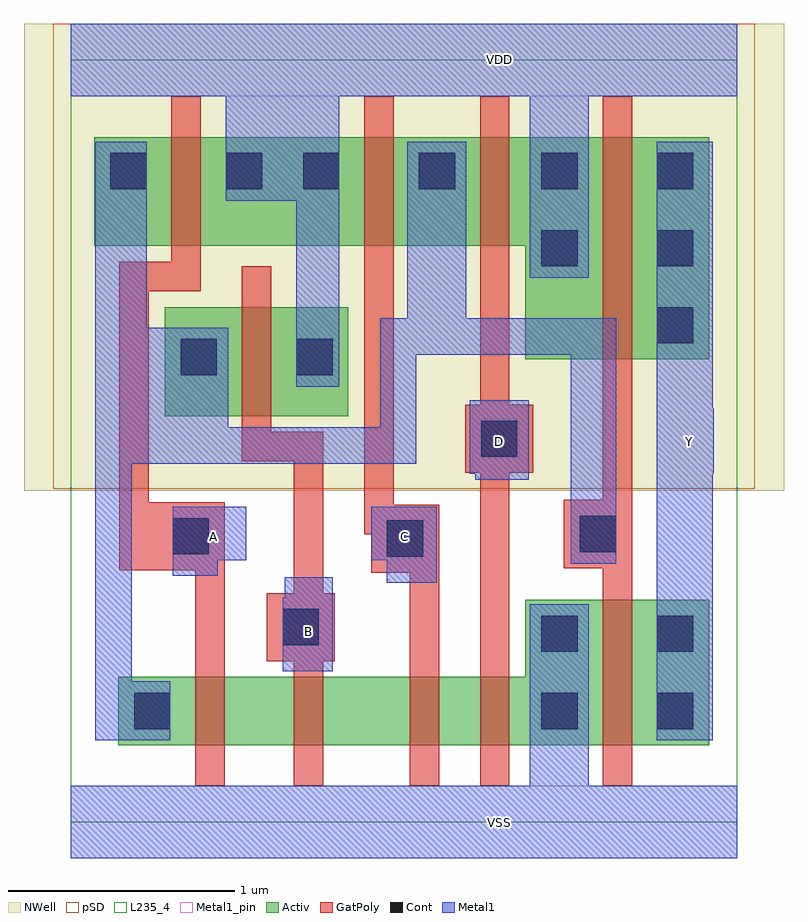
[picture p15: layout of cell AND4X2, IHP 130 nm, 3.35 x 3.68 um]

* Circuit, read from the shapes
.subckt AND4X2 A B C D VDD VSS Y
XM1 n1 A n2 VSUBS sg13_lv_nmos w=0.3u l=0.13u
XM2 n3 B n1 VSUBS sg13_lv_nmos w=0.3u l=0.13u
XM3 n4 C n3 VSUBS sg13_lv_nmos w=0.3u l=0.13u
XM4 VSS D n4 VSUBS sg13_lv_nmos w=0.3u l=0.13u
XM5 Y n2 VSS VSUBS sg13_lv_nmos w=0.64u l=0.13u
XM6 VDD A n2 n5 sg13_lv_pmos w=0.48u l=0.13u
XM7 VDD B n2 n5 sg13_lv_pmos w=0.48u l=0.13u
XM8 n2 C VDD n5 sg13_lv_pmos w=0.48u l=0.13u
XM9 VDD D n2 n5 sg13_lv_pmos w=0.48u l=0.13u
XM10 Y n2 VDD n5 sg13_lv_pmos w=0.98u l=0.13u
.ends

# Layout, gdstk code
import gdstk
lib = gdstk.Library(unit=1e-6, precision=1e-09)
def R(c, l, rs):  # rectangles x0, y0, x1, y1
    for r in rs: c.add(gdstk.rectangle(r[:2], r[2:], *l))
def A(c, l, x, y, w, h, nx, ny, dx, dy):  # array of equal rectangles
    R(c, l, [(x+i*dx, y+j*dy, x+i*dx+w, y+j*dy+h) for i in range(nx) for j in range(ny)])
def P(c, l, *ps):  # polygons
    for p in ps: c.add(gdstk.Polygon(p, *l))
Activ = (1, 0)
GatPoly = (5, 0)
Cont = (6, 0)
Metal1 = (8, 0)
Metal1_pin = (8, 2)
pSD = (14, 0)
NWell = (31, 0)
L235_4 = (235, 4)

and4x2 = lib.new_cell('AND4X2')
R(and4x2, Activ, [(0.415,1.79,1.225,2.27)])
P(and4x2, Activ, [(2.815,0.98),(2.005,0.98),(2.005,0.64),(0.21,0.64),(0.21,0.34),(2.815,0.34)],
  [(2.815,3.02),(0.105,3.02),(0.105,2.54),(2.005,2.54),(2.005,2.04),(2.815,2.04)])
P(and4x2, GatPoly, [(1.165,1.01),(1.115,1.01),(1.115,1.72),(0.885,1.72),(0.885,2.45),(0.755,2.45),(0.755,1.59),(0.985,1.59),(0.985,1.01),(0.865,1.01),(0.865,0.71),(0.985,0.71),(0.985,0.16),(1.115,0.16),(1.115,0.71),(1.165,0.71)],
  [(2.04,1.84),(1.935,1.84),(1.935,3.2),(1.805,3.2),(1.805,1.84),(1.74,1.84),(1.74,1.54),(1.805,1.54),(1.805,0.16),(1.935,0.16),(1.935,1.54),(2.04,1.54)],
  [(0.68,1.41),(0.345,1.41),(0.345,2.34),(0.575,2.34),(0.575,3.2),(0.445,3.2),(0.445,2.47),(0.215,2.47),(0.215,1.11),(0.55,1.11),(0.55,0.16),(0.68,0.16)],
  [(1.625,1.4),(1.425,1.4),(1.425,3.2),(1.295,3.2),(1.295,1.27),(1.325,1.27),(1.325,1.1),(1.495,1.1),(1.495,0.16),(1.625,0.16)],
  [(2.475,3.2),(2.345,3.2),(2.345,1.42),(2.175,1.42),(2.175,1.12),(2.345,1.12),(2.345,0.16),(2.475,0.16)])
A(and4x2, Cont, 2.585, 2.11, 0.16, 0.16, 1, 3, 0, 0.34)
R(and4x2, Cont, [(0.28,0.41,0.44,0.57), (2.075,0.41,2.235,0.57), (2.585,0.41,2.745,0.57), (2.075,0.75,2.235,0.91), (2.585,0.75,2.745,0.91), (0.935,0.78,1.095,0.94), (1.395,1.17,1.555,1.33), (0.45,1.18,0.61,1.34), (2.245,1.19,2.405,1.35), (1.81,1.61,1.97,1.77), (0.485,1.97,0.645,2.13), (0.995,1.97,1.155,2.13), (2.075,2.45,2.235,2.61), (0.175,2.79,0.335,2.95), (0.685,2.79,0.845,2.95), (1.025,2.79,1.185,2.95), (1.535,2.79,1.695,2.95), (2.075,2.79,2.235,2.95)])
P(and4x2, Metal1, [(2.835,1.825),(2.83,1.825),(2.83,3),(2.585,3),(2.585,0.36),(2.83,0.36),(2.83,1.535),(2.835,1.535)],
  [(1.155,1.08),(0.945,1.08),(0.945,0.99),(0.935,0.99),(0.935,0.665),(1.155,0.665)],
  [(2.94,0.16),(2.285,0.16),(2.285,0.96),(2.025,0.96),(2.025,0.16),(0,0.16),(0,-0.16),(2.94,-0.16)],
  [(2.94,3.52),(0,3.52),(0,3.2),(0.685,3.2),(0.685,2.74),(0.995,2.74),(0.995,1.92),(1.185,1.92),(1.185,3.2),(2.025,3.2),(2.025,2.4),(2.285,2.4),(2.285,3.2),(2.94,3.2)],
  [(0.775,1.39),(0.45,1.39),(0.45,1.085),(0.65,1.085),(0.65,1.155),(0.775,1.155)],
  [(1.615,1.39),(1.325,1.39),(1.325,1.155),(1.395,1.155),(1.395,1.055),(1.615,1.055)],
  [(2.02,1.86),(1.76,1.86),(1.76,1.535),(1.785,1.535),(1.785,1.51),(2.02,1.51)],
  [(2.405,2.22),(1.745,2.22),(1.745,3),(1.485,3),(1.485,2.22),(1.365,2.22),(1.365,1.74),(0.695,1.74),(0.695,2.18),(0.335,2.18),(0.335,3),(0.11,3),(0.11,0.36),(0.44,0.36),(0.44,0.62),(0.27,0.62),(0.27,1.58),(1.525,1.58),(1.525,2.06),(2.205,2.06),(2.205,1.14),(2.405,1.14)])
R(and4x2, Metal1_pin, [(0,-0.16,2.94,0.16), (0.935,0.665,1.155,0.99), (0.45,1.155,0.775,1.39), (1.325,1.155,1.615,1.39), (1.76,1.535,2.02,1.86), (2.585,1.535,2.835,1.825), (0,3.2,2.94,3.52)])
P(and4x2, Metal1_pin, [(2.835,1.825),(2.83,1.825),(2.83,3),(2.585,3),(2.585,0.36),(2.83,0.36),(2.83,1.535),(2.835,1.535)],
  [(1.155,1.08),(0.945,1.08),(0.945,0.99),(0.935,0.99),(0.935,0.665),(1.155,0.665)],
  [(1.615,1.39),(1.325,1.39),(1.325,1.155),(1.395,1.155),(1.395,1.055),(1.615,1.055)],
  [(2.02,1.86),(1.76,1.86),(1.76,1.535),(1.785,1.535),(1.785,1.51),(2.02,1.51)],
  [(0.775,1.39),(0.45,1.39),(0.45,1.085),(0.65,1.085),(0.65,1.155),(0.775,1.155)])
R(and4x2, pSD, [(-0.075,1.47,3.015,3.52)])
R(and4x2, NWell, [(-0.205,1.46,3.145,3.52)])
R(and4x2, L235_4, [(0,0,2.94,3.36)])
and4x2.add(gdstk.Label('Y', (2.73,1.68), layer=8, texttype=25))
and4x2.add(gdstk.Label('A', (0.63,1.26), layer=8, texttype=25))
and4x2.add(gdstk.Label('B', (1.05,0.84), layer=8, texttype=25))
and4x2.add(gdstk.Label('D', (1.89,1.68), layer=8, texttype=25))
and4x2.add(gdstk.Label('VDD', (1.89,3.36), layer=8, texttype=25))
and4x2.add(gdstk.Label('C', (1.47,1.26), layer=8, texttype=25))
and4x2.add(gdstk.Label('VSS', (1.89,0), layer=8, texttype=25))

lib.write_gds('AND4X2.gds')
